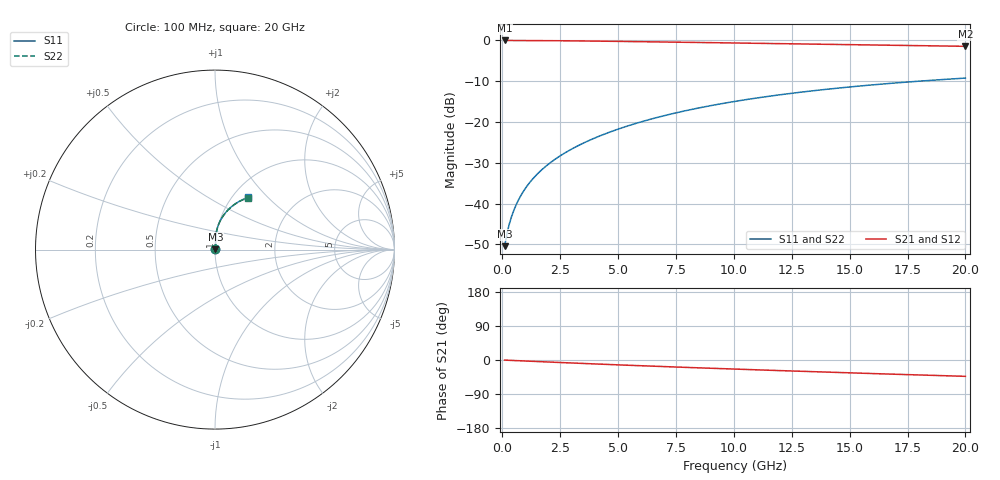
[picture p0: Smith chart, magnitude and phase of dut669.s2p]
! Touchstone file exported from HFSS 2024.1.0
!  File:  C:/UserFiles/LocalFiles/RDL_TSV_Batchsim/temp_RDL_top_669_1779782015.aedt
!  Generated:  03:55:39 PM May 26, 2026
!  Design:  RDL_top
!  Project:  temp_RDL_top_669_1779782015
!  Setup:  Setup1
!  Solution:  Sweep
! Variables:
!  dtsv = 10.80580581um
!  hbump = 3um
!  htsv = 56.44um
!  ldown = 100um
!  lrdl = 649.04um
!  p = 40
!  p1 = 49.75um
!  rhole = 1um
!  t = 450um
!  tdown = 3.915915916um
!  trdl = 4.11um
!  wdown = 15.38538539um
!  wrdl = 25.03um
# GHz S MA R 50.000000
! Terminal data exported
! Port[1] = Box2_T1
! Port[2] = Box2_T2
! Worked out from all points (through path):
!   200 points, 100 MHz to 20 GHz, reference 50 ohm
!   highest |S21| = -0.02 dB at 100 MHz (marker M1); lowest = -1.5 dB at 20 GHz (marker M2)
!   group delay of S21, straight-line fit = 5.91 ps
!   lowest |S11| = -50.5 dB at 100 MHz (marker M3), VSWR 1.01, Z = 50.2 + j0.174 ohm
!   |S11| at or under -10 dB: start of sweep to 18 GHz
!   |S22| runs from -50.5 to -9.3 dB; largest |S21 - S12| = 2.2e-14
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0.1  0.002999 35.3  0.9975 -0.3  0.9975 -0.3  0.002999 35.3
! Gamma 0 0 0 0
! Port Impedance 50 0 50 0
0.2  0.004241 51.8  0.9973 -0.6  0.9973 -0.6  0.004241 51.8
0.3  0.005567 60.2  0.9971 -0.8  0.9971 -0.8  0.005567 60.2
0.4  0.006909 65.5  0.9969 -1.1  0.9969 -1.1  0.006909 65.5
0.5  0.008272 69.4  0.9967 -1.4  0.9967 -1.4  0.008272 69.4
0.6  0.009657 72.3  0.9965 -1.6  0.9965 -1.6  0.009658 72.2
0.8  0.01249 76.3  0.9961 -2.2  0.9961 -2.2  0.01249 76.3
1.1  0.01685 80.0  0.9954 -3.0  0.9954 -3.0  0.01685 80.0
1.3  0.01981 81.6  0.9948 -3.5  0.9948 -3.5  0.01981 81.6
1.6  0.02434 83.4  0.9938 -4.3  0.9938 -4.3  0.02433 83.3
2.1  0.03206 85.2  0.9917 -5.6  0.9917 -5.6  0.03206 85.2
2.7  0.04165 86.4  0.9885 -7.2  0.9885 -7.2  0.04164 86.3
3.5  0.055 87.1  0.9834 -9.2  0.9834 -9.2  0.05497 87.0
4.2  0.06719 87.1  0.9784 -10.9  0.9784 -10.9  0.06714 87.0
5  0.08164 86.6  0.9721 -12.8  0.9721 -12.8  0.08157 86.5
6.8  0.1157 84.3  0.9569 -17.0  0.9569 -17.0  0.1155 84.3
8.4  0.1467 81.4  0.943 -20.5  0.943 -20.5  0.1465 81.4
10.1  0.1796 77.9  0.9282 -24.1  0.9282 -24.1  0.1794 77.9
11.7  0.2099 74.5  0.9144 -27.4  0.9144 -27.4  0.2096 74.5
13.4  0.2408 70.8  0.9 -30.8  0.9 -30.8  0.2404 70.8
16.7  0.2962 63.9  0.8723 -37.1  0.8723 -37.1  0.2957 63.8
20  0.3449 57.3  0.8454 -43.1  0.8454 -43.1  0.3444 57.3
